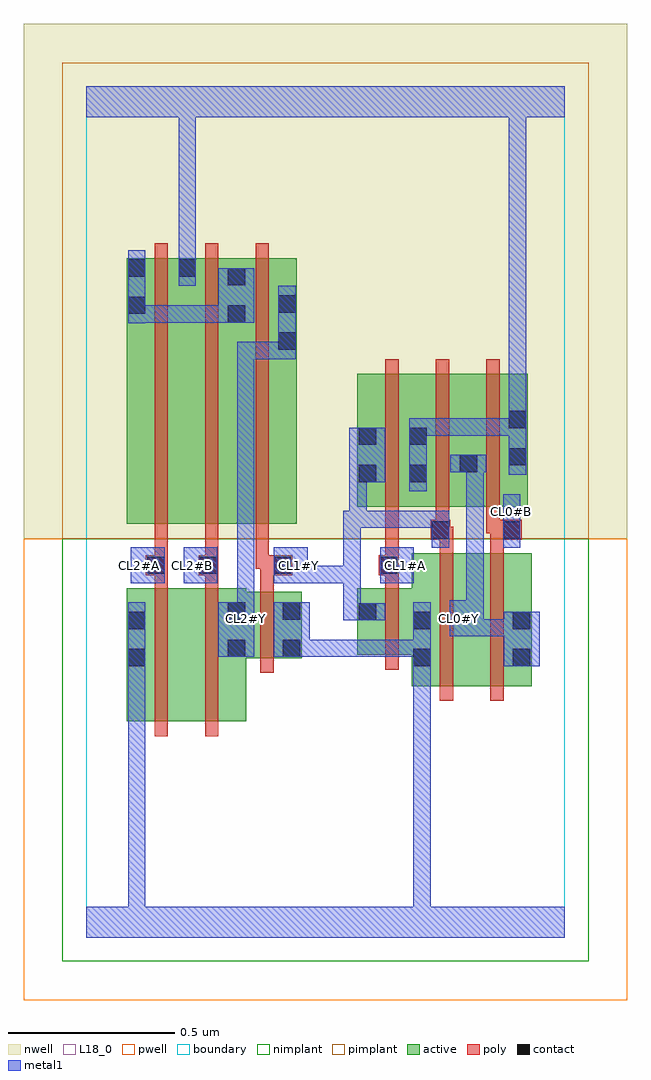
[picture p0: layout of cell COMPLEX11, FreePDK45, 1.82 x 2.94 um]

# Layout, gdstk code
import gdstk
lib = gdstk.Library(unit=1e-6, precision=1e-09)
def R(c, l, rs):  # rectangles x0, y0, x1, y1
    for r in rs: c.add(gdstk.rectangle(r[:2], r[2:], *l))
def A(c, l, x, y, w, h, nx, ny, dx, dy):  # array of equal rectangles
    R(c, l, [(x+i*dx, y+j*dy, x+i*dx+w, y+j*dy+h) for i in range(nx) for j in range(ny)])
active = (1, 0)
pwell = (2, 0)
nwell = (3, 0)
nimplant = (4, 0)
pimplant = (5, 0)
poly = (9, 0)
contact = (10, 0)
metal1 = (11, 0)
L18_0 = (18, 0)
boundary = (235, 0)

complex11 = lib.new_cell('COMPLEX11')
A(complex11, active, 0.816, 1.296, 0.06, 0.4, 3, 1, 0.152, 0)
R(complex11, active, [(0.122,0.65,0.182,1.05), (0.122,0.65,0.302,1.05), (0.302,0.65,0.482,1.05), (0.422,0.65,0.482,1.04), (0.98,0.756,1.16,1.156), (0.98,0.756,1.04,1.05), (1.16,0.756,1.34,1.156), (1.28,0.756,1.34,1.156), (0.422,0.84,0.648,1.04), (0.588,0.84,0.648,1.04), (0.816,0.85,1.04,1.05), (0.816,0.85,0.876,1.05), (0.122,1.244,0.182,2.044), (0.122,1.244,0.334,2.044), (0.274,1.244,0.334,2.044), (0.274,1.244,0.482,2.044), (0.422,1.244,0.482,2.044), (0.422,1.244,0.634,2.044), (0.574,1.244,0.634,2.044), (0.816,1.296,1.028,1.696), (0.968,1.296,1.18,1.696), (1.12,1.296,1.328,1.696), (1.268,1.296,1.328,1.696)])
R(complex11, pwell, [(-0.188,-0.188,1.628,1.2)])
R(complex11, nwell, [(-0.188,1.2,1.628,2.748)])
R(complex11, nimplant, [(-0.072,-0.072,1.512,1.2)])
R(complex11, pimplant, [(-0.072,1.2,1.512,2.632)])
A(complex11, poly, 0.206, 1.11, 0.04, 0.13, 3, 1, 0.152, 0)
A(complex11, poly, 0.206, 1.2, 0.04, 0.888, 3, 1, 0.152, 0)
A(complex11, poly, 0.9, 1.252, 0.04, 0.488, 3, 1, 0.152, 0)
R(complex11, poly, [(0.206,0.606,0.246,1.094), (0.358,0.606,0.398,1.094), (1.064,0.712,1.104,1.2), (1.216,0.712,1.256,1.2), (0.524,0.796,0.564,1.084), (0.9,0.806,0.94,1.094), (0.524,1.044,0.564,1.13), (0.206,1.054,0.246,1.13), (0.358,1.054,0.398,1.13), (0.9,1.054,0.94,1.13), (0.18,1.09,0.246,1.15), (0.206,1.09,0.246,1.13), (0.206,1.09,0.246,1.13), (0.338,1.09,0.398,1.15), (0.524,1.09,0.62,1.15), (0.88,1.09,0.94,1.15), (0.358,1.11,0.398,1.15), (0.358,1.11,0.398,1.15), (0.51,1.11,0.564,1.15), (0.524,1.11,0.564,1.15), (0.9,1.11,0.94,1.15), (0.9,1.11,0.94,1.15), (0.9,1.11,0.94,1.292), (1.064,1.16,1.104,1.236), (1.216,1.16,1.256,1.236), (1.036,1.196,1.096,1.256), (1.056,1.196,1.096,1.236), (1.056,1.196,1.104,1.236), (1.216,1.196,1.31,1.256), (1.052,1.216,1.092,1.292), (1.204,1.216,1.244,1.292), (1.204,1.216,1.256,1.256), (1.216,1.216,1.256,1.256)])
R(complex11, contact, [(0.126,0.816,0.178,0.868), (0.984,0.816,1.036,0.868), (1.284,0.816,1.336,0.868), (0.426,0.844,0.478,0.896), (0.592,0.844,0.644,0.896), (0.126,0.928,0.178,0.98), (0.984,0.928,1.036,0.98), (1.284,0.928,1.336,0.98), (0.82,0.954,0.872,1.006), (0.426,0.956,0.478,1.008), (0.592,0.956,0.644,1.008), (0.184,1.094,0.236,1.146), (0.342,1.094,0.394,1.146), (0.564,1.094,0.616,1.146), (0.884,1.094,0.936,1.146), (1.04,1.2,1.092,1.252), (1.254,1.2,1.306,1.252), (0.82,1.37,0.872,1.422), (0.972,1.37,1.024,1.422), (1.124,1.4,1.176,1.452), (1.272,1.42,1.324,1.472), (0.82,1.482,0.872,1.534), (0.972,1.482,1.024,1.534), (1.272,1.532,1.324,1.584), (0.578,1.768,0.63,1.82), (0.426,1.85,0.478,1.902), (0.126,1.876,0.178,1.928), (0.578,1.88,0.63,1.932), (0.426,1.962,0.478,2.014), (0.126,1.988,0.178,2.04), (0.278,1.988,0.33,2.04)])
R(complex11, metal1, [(0,0,1.44,0.092), (0.126,0.04,0.178,0.092), (0.126,0.04,0.178,0.092), (0.126,0.04,0.178,0.092), (0.126,0.04,0.178,0.092), (0.126,0.04,0.178,0.092), (0.126,0.04,0.178,0.092), (0.126,0.04,0.178,0.092), (0.126,0.04,0.178,0.092), (0.126,0.04,0.178,0.092), (0.126,0.04,0.178,0.092), (0.126,0.04,0.178,0.092), (0.126,0.04,0.178,0.092), (0.126,0.04,0.178,0.84), (0.984,0.04,1.036,0.092), (0.984,0.04,1.036,0.092), (0.984,0.04,1.036,0.092), (0.984,0.04,1.036,0.092), (0.984,0.04,1.036,0.092), (0.984,0.04,1.036,0.092), (0.984,0.04,1.036,0.092), (0.984,0.04,1.036,0.092), (0.984,0.04,1.036,0.092), (0.984,0.04,1.036,0.092), (0.984,0.04,1.036,0.092), (0.984,0.04,1.036,0.092), (0.984,0.04,1.036,0.84), (0.126,0.788,0.178,1.008), (0.984,0.788,1.036,1.008), (1.256,0.816,1.364,0.98), (0.398,0.844,0.506,1.008), (0.564,0.844,0.672,1.008), (0.62,0.844,0.914,0.896), (0.862,0.844,0.914,0.896), (0.862,0.844,0.914,0.896), (0.862,0.844,0.914,0.896), (0.862,0.844,0.914,0.896), (0.862,0.844,0.914,0.896), (0.862,0.844,0.914,0.896), (0.862,0.844,0.914,0.896), (0.862,0.844,1.036,0.896), (0.454,0.906,0.506,1.014), (1.094,0.906,1.196,1.014), (1.144,0.906,1.196,0.958), (1.144,0.906,1.196,0.958), (1.144,0.906,1.308,0.958), (1.256,0.906,1.308,0.958), (1.256,0.906,1.308,0.958), (0.774,0.954,0.826,1.118), (0.774,0.954,0.9,1.006), (0.454,0.956,0.506,1.008), (0.454,0.962,0.506,1.014), (0.454,0.962,0.506,1.014), (0.454,0.962,0.506,1.792), (1.144,0.962,1.196,1.452), (0.134,1.066,0.236,1.174), (0.294,1.066,0.394,1.174), (0.564,1.066,0.666,1.174), (0.614,1.066,0.666,1.118), (0.614,1.066,0.666,1.118), (0.614,1.066,0.826,1.118), (0.774,1.066,0.826,1.118), (0.774,1.066,0.826,1.284), (0.884,1.066,0.986,1.174), (1.04,1.172,1.092,1.284), (1.254,1.172,1.306,1.334), (0.774,1.232,0.844,1.284), (0.792,1.232,0.844,1.284), (0.792,1.232,0.844,1.284), (0.792,1.232,1.036,1.284), (0.792,1.232,0.844,1.422), (0.984,1.232,1.036,1.284), (0.984,1.232,1.092,1.284), (0.972,1.342,1.024,1.562), (0.792,1.37,0.9,1.534), (1.272,1.392,1.324,1.612), (1.096,1.4,1.204,1.452), (1.144,1.4,1.196,1.452), (1.144,1.4,1.196,1.452), (0.972,1.51,1.196,1.562), (1.144,1.51,1.196,1.562), (1.144,1.51,1.196,1.562), (1.144,1.51,1.196,1.562), (1.144,1.51,1.324,1.562), (1.272,1.51,1.324,1.562), (1.272,1.51,1.324,1.562), (1.272,1.56,1.324,1.612), (1.272,1.56,1.324,1.612), (1.272,1.56,1.324,1.612), (1.272,1.56,1.324,1.612), (1.272,1.56,1.324,1.612), (1.272,1.56,1.324,1.612), (1.272,1.56,1.324,1.612), (1.272,1.56,1.324,1.612), (1.272,1.56,1.324,1.612), (1.272,1.56,1.324,1.612), (1.272,1.56,1.324,2.52), (0.454,1.74,0.506,1.792), (0.454,1.74,0.506,1.792), (0.454,1.74,0.506,1.792), (0.454,1.74,0.63,1.792), (0.578,1.74,0.63,1.96), (0.126,1.848,0.178,2.068), (0.126,1.85,0.178,1.902), (0.126,1.85,0.178,1.902), (0.126,1.85,0.34,1.902), (0.288,1.85,0.34,1.902), (0.288,1.85,0.34,1.902), (0.288,1.85,0.34,1.902), (0.288,1.85,0.34,1.902), (0.288,1.85,0.34,1.902), (0.288,1.85,0.45,1.902), (0.398,1.85,0.506,2.014), (0.278,1.96,0.33,2.068), (0.278,2.016,0.33,2.068), (0.278,2.016,0.33,2.068), (0.278,2.016,0.33,2.068), (0.278,2.016,0.33,2.068), (0.278,2.016,0.33,2.068), (0.278,2.016,0.33,2.068), (0.278,2.016,0.33,2.52), (0,2.468,1.44,2.56), (0.278,2.468,0.33,2.52), (0.278,2.468,0.33,2.52), (1.272,2.468,1.324,2.52), (1.272,2.468,1.324,2.52), (1.272,2.468,1.324,2.52), (1.272,2.468,1.324,2.52), (1.272,2.468,1.324,2.52), (1.272,2.468,1.324,2.52)])
A(complex11, L18_0, 0.294, 1.094, 0.052, 0.052, 3, 1, 0.32, 0)
R(complex11, L18_0, [(0,0,1.44,0.092), (0.126,0.04,0.178,0.092), (0.126,0.04,0.178,0.092), (0.126,0.04,0.178,0.092), (0.126,0.04,0.178,0.092), (0.126,0.04,0.178,0.092), (0.126,0.04,0.178,0.092), (0.126,0.04,0.178,0.092), (0.126,0.04,0.178,0.092), (0.126,0.04,0.178,0.092), (0.126,0.04,0.178,0.092), (0.126,0.04,0.178,0.092), (0.126,0.04,0.178,0.092), (0.126,0.04,0.178,0.84), (0.984,0.04,1.036,0.092), (0.984,0.04,1.036,0.092), (0.984,0.04,1.036,0.092), (0.984,0.04,1.036,0.092), (0.984,0.04,1.036,0.092), (0.984,0.04,1.036,0.092), (0.984,0.04,1.036,0.092), (0.984,0.04,1.036,0.092), (0.984,0.04,1.036,0.092), (0.984,0.04,1.036,0.092), (0.984,0.04,1.036,0.092), (0.984,0.04,1.036,0.092), (0.984,0.04,1.036,0.84), (0.126,0.788,0.178,1.008), (0.984,0.788,1.036,1.008), (1.256,0.816,1.364,0.98), (0.398,0.844,0.506,1.008), (0.564,0.844,0.672,1.008), (0.62,0.844,0.914,0.896), (0.862,0.844,0.914,0.896), (0.862,0.844,0.914,0.896), (0.862,0.844,0.914,0.896), (0.862,0.844,0.914,0.896), (0.862,0.844,0.914,0.896), (0.862,0.844,0.914,0.896), (0.862,0.844,0.914,0.896), (0.862,0.844,1.036,0.896), (0.454,0.906,0.506,1.014), (1.094,0.906,1.196,1.014), (1.144,0.906,1.196,0.958), (1.144,0.906,1.196,0.958), (1.144,0.906,1.308,0.958), (1.256,0.906,1.308,0.958), (1.256,0.906,1.308,0.958), (0.454,0.934,0.506,0.986), (1.094,0.934,1.146,0.986), (0.774,0.954,0.9,1.006), (0.774,0.954,0.826,1.118), (0.454,0.956,0.506,1.008), (0.454,0.962,0.506,1.014), (0.454,0.962,0.506,1.014), (0.454,0.962,0.506,1.792), (1.144,0.962,1.196,1.452), (0.134,1.066,0.236,1.174), (0.294,1.066,0.394,1.174), (0.564,1.066,0.666,1.174), (0.614,1.066,0.666,1.118), (0.614,1.066,0.666,1.118), (0.614,1.066,0.826,1.118), (0.774,1.066,0.826,1.118), (0.774,1.066,0.826,1.284), (0.884,1.066,0.986,1.174), (0.134,1.094,0.186,1.146), (1.04,1.172,1.092,1.284), (1.254,1.172,1.306,1.334), (0.774,1.232,0.844,1.284), (0.792,1.232,0.844,1.284), (0.792,1.232,0.844,1.284), (0.792,1.232,0.844,1.422), (0.792,1.232,1.036,1.284), (0.984,1.232,1.036,1.284), (0.984,1.232,1.092,1.284), (1.254,1.254,1.306,1.306), (0.972,1.342,1.024,1.562), (0.792,1.37,0.9,1.534), (1.272,1.392,1.324,1.612), (1.096,1.4,1.204,1.452), (1.144,1.4,1.196,1.452), (1.144,1.4,1.196,1.452), (0.972,1.51,1.196,1.562), (1.144,1.51,1.196,1.562), (1.144,1.51,1.196,1.562), (1.144,1.51,1.196,1.562), (1.144,1.51,1.324,1.562), (1.272,1.51,1.324,1.562), (1.272,1.51,1.324,1.562), (1.272,1.56,1.324,1.612), (1.272,1.56,1.324,1.612), (1.272,1.56,1.324,1.612), (1.272,1.56,1.324,1.612), (1.272,1.56,1.324,1.612), (1.272,1.56,1.324,1.612), (1.272,1.56,1.324,1.612), (1.272,1.56,1.324,1.612), (1.272,1.56,1.324,1.612), (1.272,1.56,1.324,1.612), (1.272,1.56,1.324,2.52), (0.454,1.74,0.506,1.792), (0.454,1.74,0.506,1.792), (0.454,1.74,0.506,1.792), (0.454,1.74,0.63,1.792), (0.578,1.74,0.63,1.96), (0.278,1.96,0.33,2.068), (0.278,2.016,0.33,2.068), (0.278,2.016,0.33,2.068), (0.278,2.016,0.33,2.068), (0.278,2.016,0.33,2.068), (0.278,2.016,0.33,2.068), (0.278,2.016,0.33,2.068), (0.278,2.016,0.33,2.52), (0,2.468,1.44,2.56), (0.278,2.468,0.33,2.52), (0.278,2.468,0.33,2.52), (1.272,2.468,1.324,2.52), (1.272,2.468,1.324,2.52), (1.272,2.468,1.324,2.52), (1.272,2.468,1.324,2.52), (1.272,2.468,1.324,2.52), (1.272,2.468,1.324,2.52)])
R(complex11, boundary, [(0,0,1.44,2.56)])
complex11.add(gdstk.Label('CL0#B', (1.28,1.28), layer=11, texttype=0))
complex11.add(gdstk.Label('CL0#Y', (1.12,0.96), layer=11, texttype=0))
complex11.add(gdstk.Label('CL1#A', (0.96,1.12), layer=11, texttype=0))
complex11.add(gdstk.Label('CL1#Y', (0.64,1.12), layer=11, texttype=0))
complex11.add(gdstk.Label('CL2#A', (0.16,1.12), layer=11, texttype=0))
complex11.add(gdstk.Label('CL2#B', (0.32,1.12), layer=11, texttype=0))
complex11.add(gdstk.Label('CL2#Y', (0.48,0.96), layer=11, texttype=0))

lib.write_gds('COMPLEX11.gds')
